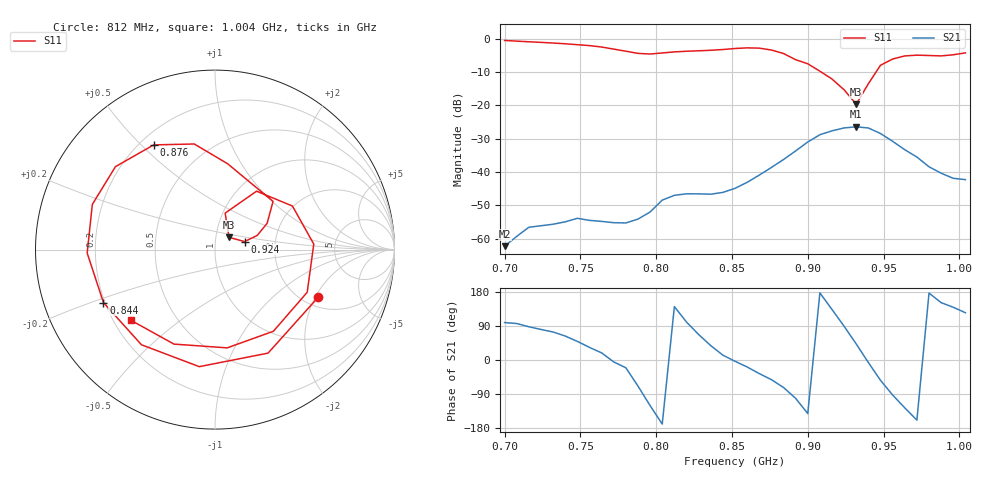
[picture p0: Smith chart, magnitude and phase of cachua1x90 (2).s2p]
# Hz S RI R 50
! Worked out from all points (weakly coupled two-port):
!   39 points, 700 MHz to 1.004 GHz, reference 50 ohm
!   highest |S21| = -26.45 dB at 932 MHz (marker M1); lowest = -62.3 dB at 700 MHz (marker M2)
!   lowest |S11| = -19.7 dB at 932 MHz (marker M3), VSWR 1.23, Z = 57.9 + j8 ohm
!   |S11| at or under -10 dB: 908.8 MHz to 945.1 MHz (36.24 MHz wide, 3.91 % of centre)
!   S12 and S22 are empty: the file has one direction only
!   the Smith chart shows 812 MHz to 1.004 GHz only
!   S11 on the Smith chart (normalised r, x): 812 MHz: 2.39, -2.11; 844 MHz: 0.19, -0.22; 876 MHz: 0.25, +0.55; 924 MHz: 1.39, +0.13; 1.004 GHz: 0.27, -0.34
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7e8  0.7584 0.557  -0.000116 0.000759  0 0  0 0
7.24e8  0.8442 -0.2515  0.000254 0.00153  0 0  0 0
7.4e8  0.4589 -0.7025  0.000803 0.00159  0 0  0 0
7.56e8  -0.19 -0.764  0.00157 0.00103  0 0  0 0
7.72e8  -0.6663 -0.2058  0.00172 -0.000153  0 0  0 0
7.8e8  -0.611 0.2187  0.0016 -0.000603  0 0  0 0
7.88e8  -0.2651 0.5405  0.000707 -0.00182  0 0  0 0
7.96e8  0.2241 0.5443  -0.00127 -0.00216  0 0  0 0
8.04e8  0.5765 0.2015  -0.00371 -0.000715  0 0  0 0
8.12e8  0.575 -0.2653  -0.00346 0.0028  0 0  0 0
8.28e8  -0.0877 -0.6521  0.00181 0.00432  0 0  0 0
8.44e8  -0.6215 -0.2951  0.00481 0.00109  0 0  0 0
8.52e8  -0.7121 -0.0192  0.00565 -0.000332  0 0  0 0
8.76e8  -0.3417 0.5834  0.00722 -0.00916  0 0  0 0
9e8  0.3234 0.2687  -0.022 -0.0176  0 0  0 0
9.08e8  0.2904 0.1465  -0.0361 0.00187  0 0  0 0
9.24e8  0.1648 0.0447  0.000832 0.0457  0 0  0 0
9.32e8  0.078 0.0683  0.0352 0.032  0 0  0 0
9.56e8  0.4315 0.2427  -0.00121 -0.0288  0 0  0 0
9.72e8  0.5138 -0.2378  -0.0156 -0.00608  0 0  0 0
9.88e8  0.0679 -0.5475  -0.00839 0.00459  0 0  0 0
1.004e9  -0.47 -0.393  -0.00437 0.0063  0 0  0 0
